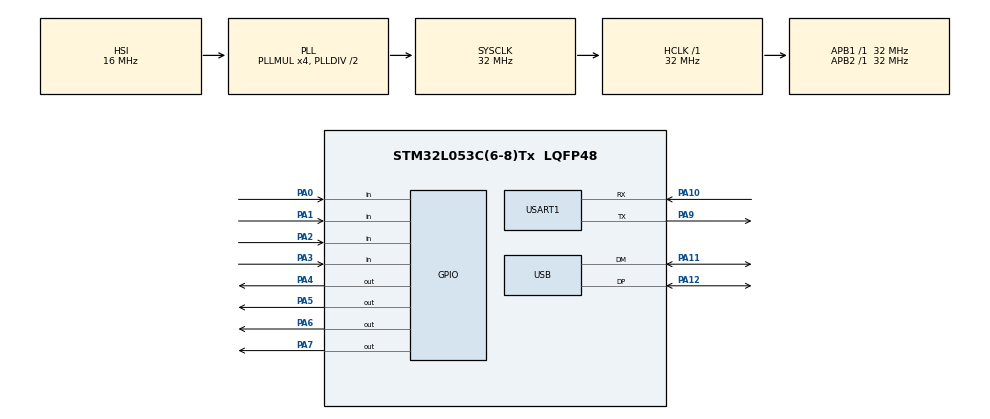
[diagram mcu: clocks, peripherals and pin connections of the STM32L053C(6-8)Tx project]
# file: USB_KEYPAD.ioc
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Mcu.Family=STM32L0
Mcu.Name=STM32L053C(6-8)Tx
Mcu.Package=LQFP48
NVIC.USB_IRQn=true\:0\:0\:false\:false\:true\:false\:true\:true
PA0.GPIO_PuPd=GPIO_PULLUP
PA0.Signal=GPIO_Input
PA1.GPIO_PuPd=GPIO_PULLUP
PA1.Signal=GPIO_Input
PA10.Mode=Asynchronous
PA10.Signal=USART1_RX
PA11.Mode=Device
PA11.Signal=USB_DM
PA12.Mode=Device
PA12.Signal=USB_DP
PA13.Mode=Serial_Wire
PA13.Signal=SYS_SWDIO
PA14.Mode=Serial_Wire
PA14.Signal=SYS_SWCLK
PA2.GPIO_PuPd=GPIO_PULLUP
PA2.Signal=GPIO_Input
PA3.GPIO_PuPd=GPIO_PULLUP
PA3.Signal=GPIO_Input
PA4.Signal=GPIO_Output
PA5.Signal=GPIO_Output
PA6.Signal=GPIO_Output
PA7.Signal=GPIO_Output
PA9.Mode=Asynchronous
PA9.Signal=USART1_TX
PH0-OSC_IN.Mode=HSE-External-Oscillator
PH0-OSC_IN.Signal=RCC_OSC_IN
PH1-OSC_OUT.Mode=HSE-External-Oscillator
PH1-OSC_OUT.Signal=RCC_OSC_OUT
ProjectManager.HeapSize=0x200
ProjectManager.StackSize=0x400
ProjectManager.TargetToolchain=STM32CubeIDE
RCC.AHBFreq_Value=32000000
RCC.APB1Freq_Value=32000000
RCC.APB1TimFreq_Value=32000000
RCC.APB2Freq_Value=32000000
RCC.APB2TimFreq_Value=32000000
RCC.HCLKFreq_Value=32000000
RCC.HSE_VALUE=8000000
RCC.HSI16_VALUE=16000000
RCC.HSI48MClockSelection=RCC_USBCLKSOURCE_HSI48
RCC.HSI48_VALUE=48000000
RCC.HSI_VALUE=16000000
RCC.LSE_VALUE=32768
RCC.MSI_VALUE=2097000
RCC.PLLMUL=RCC_PLLMUL_4
RCC.RTCClockSelectionVirtual=RCC_RTCCLKSOURCE_LSE
RCC.SYSCLKFreq_VALUE=32000000
RCC.SYSCLKSource=RCC_SYSCLKSOURCE_PLLCLK
RCC.VCOOutputFreq_Value=64000000
USART1.VirtualMode-Asynchronous=VM_ASYNC
USB_DEVICE.CLASS_NAME_FS=HID
USB_DEVICE.PRODUCT_STRING_HID_FS=STM32 Human KEYPAD
USB_DEVICE.VirtualMode=Hid
USB_DEVICE.VirtualModeFS=Hid_FS
VP_USB_DEVICE_VS_USB_DEVICE_HID_FS.Mode=HID_FS
board=STM32L0538-DISCO

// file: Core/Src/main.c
/* USER CODE BEGIN Header */
/**
  ******************************************************************************
  * @file           : main.c
  * @brief          : Main program body
  ******************************************************************************
  * @attention
  *
  * Copyright (c) 2023 STMicroelectronics.
  * All rights reserved.
  *
  * This software is licensed under terms that can be found in the LICENSE file
  * in the root directory of this software component.
  * If no LICENSE file comes with this software, it is provided AS-IS.
  *
  ******************************************************************************
  */
/* USER CODE END Header */
#include "main.h"
#include "usb_device.h"

/* USER CODE BEGIN Includes */
#include "usbd_hid.h"

/* USER CODE END Includes */

UART_HandleTypeDef huart1;

void SystemClock_Config(void);
static void MX_GPIO_Init(void);
static void MX_USART1_UART_Init(void);

/* USER CODE BEGIN 0 */

extern USBD_HandleTypeDef hUsbDeviceFS;

typedef struct
{
	uint8_t MODIFIER;
	uint8_t RESERVED;
	uint8_t KEYCODE1;
	uint8_t KEYCODE2;
	uint8_t KEYCODE3;
	uint8_t KEYCODE4;
	uint8_t KEYCODE5;
	uint8_t KEYCODE6;

} KeypadHID;

KeypadHID Keypadhid ={0,0,0,0,0,0,0};

/*************************************** KEYPAD RELATED CODE STARTS HERE *********************************/
#define R1_PORT GPIOA
#define R1_PIN GPIO_PIN_7

#define R2_PORT GPIOA
#define R2_PIN GPIO_PIN_6

#define R3_PORT GPIOA
#define R3_PIN GPIO_PIN_5

#define R4_PORT GPIOA
#define R4_PIN GPIO_PIN_4

#define C1_PORT GPIOA
#define C1_PIN GPIO_PIN_3

#define C2_PORT GPIOA
#define C2_PIN GPIO_PIN_2

#define C3_PORT GPIOA
#define C3_PIN GPIO_PIN_1

#define C4_PORT GPIOA
#define C4_PIN GPIO_PIN_0

uint8_t key;

char read_keypad (void)
{
	/* Make ROW 1 LOW and all other ROWs HIGH */
	HAL_GPIO_WritePin (R1_PORT, R1_PIN, GPIO_PIN_RESET);  //Pull the R1 low
	HAL_GPIO_WritePin (R2_PORT, R2_PIN, GPIO_PIN_SET);  // Pull the R2 High
	HAL_GPIO_WritePin (R3_PORT, R3_PIN, GPIO_PIN_SET);  // Pull the R3 High
	HAL_GPIO_WritePin (R4_PORT, R4_PIN, GPIO_PIN_SET);  // Pull the R4 High

	if (!(HAL_GPIO_ReadPin (C1_PORT, C1_PIN)))   // if the Col 1 is low
	{
		while (!(HAL_GPIO_ReadPin (C1_PORT, C1_PIN)));   // wait till the button is pressed
		return '1';
	}

	if (!(HAL_GPIO_ReadPin (C2_PORT, C2_PIN)))   // if the Col 2 is low
	{
		while (!(HAL_GPIO_ReadPin (C2_PORT, C2_PIN)));   // wait till the button is pressed
		return '2';
	}

	if (!(HAL_GPIO_ReadPin (C3_PORT, C3_PIN)))   // if the Col 3 is low
	{
		while (!(HAL_GPIO_ReadPin (C3_PORT, C3_PIN)));   // wait till the button is pressed
		return '3';
	}

	if (!(HAL_GPIO_ReadPin (C4_PORT, C4_PIN)))   // if the Col 4 is low
	{
		while (!(HAL_GPIO_ReadPin (C4_PORT, C4_PIN)));   // wait till the button is pressed
		return 'A';
	}

	/* Make ROW 2 LOW and all other ROWs HIGH */
	HAL_GPIO_WritePin (R1_PORT, R1_PIN, GPIO_PIN_SET);  //Pull the R1 low
	HAL_GPIO_WritePin (R2_PORT, R2_PIN, GPIO_PIN_RESET);  // Pull the R2 High
	HAL_GPIO_WritePin (R3_PORT, R3_PIN, GPIO_PIN_SET);  // Pull the R3 High
	HAL_GPIO_WritePin (R4_PORT, R4_PIN, GPIO_PIN_SET);  // Pull the R4 High

	if (!(HAL_GPIO_ReadPin (C1_PORT, C1_PIN)))   // if the Col 1 is low
	{
		while (!(HAL_GPIO_ReadPin (C1_PORT, C1_PIN)));   // wait till the button is pressed
		return '4';
	}

	if (!(HAL_GPIO_ReadPin (C2_PORT, C2_PIN)))   // if the Col 2 is low
	{
		while (!(HAL_GPIO_ReadPin (C2_PORT, C2_PIN)));   // wait till the button is pressed
		return '5';
	}

	if (!(HAL_GPIO_ReadPin (C3_PORT, C3_PIN)))   // if the Col 3 is low
	{
		while (!(HAL_GPIO_ReadPin (C3_PORT, C3_PIN)));   // wait till the button is pressed
		return '6';
	}

	if (!(HAL_GPIO_ReadPin (C4_PORT, C4_PIN)))   // if the Col 4 is low
	{
		while (!(HAL_GPIO_ReadPin (C4_PORT, C4_PIN)));   // wait till the button is pressed
		return 'B';
	}

	/* Make ROW 3 LOW and all other ROWs HIGH */
	HAL_GPIO_WritePin (R1_PORT, R1_PIN, GPIO_PIN_SET);  //Pull the R1 low
	HAL_GPIO_WritePin (R2_PORT, R2_PIN, GPIO_PIN_SET);  // Pull the R2 High
	HAL_GPIO_WritePin (R3_PORT, R3_PIN, GPIO_PIN_RESET);  // Pull the R3 High
	HAL_GPIO_WritePin (R4_PORT, R4_PIN, GPIO_PIN_SET);  // Pull the R4 High

	if (!(HAL_GPIO_ReadPin (C1_PORT, C1_PIN)))   // if the Col 1 is low
	{
		while (!(HAL_GPIO_ReadPin (C1_PORT, C1_PIN)));   // wait till the button is pressed
		return '7';
	}

	if (!(HAL_GPIO_ReadPin (C2_PORT, C2_PIN)))   // if the Col 2 is low
	{
		while (!(HAL_GPIO_ReadPin (C2_PORT, C2_PIN)));   // wait till the button is pressed
		return '8';
	}

	if (!(HAL_GPIO_ReadPin (C3_PORT, C3_PIN)))   // if the Col 3 is low
	{
		while (!(HAL_GPIO_ReadPin (C3_PORT, C3_PIN)));   // wait till the button is pressed
		return '9';
	}

	if (!(HAL_GPIO_ReadPin (C4_PORT, C4_PIN)))   // if the Col 4 is low
	{
		while (!(HAL_GPIO_ReadPin (C4_PORT, C4_PIN)));   // wait till the button is pressed
		return 'C';
	}

	/* Make ROW 4 LOW and all other ROWs HIGH */
	HAL_GPIO_WritePin (R1_PORT, R1_PIN, GPIO_PIN_SET);  //Pull the R1 low
	HAL_GPIO_WritePin (R2_PORT, R2_PIN, GPIO_PIN_SET);  // Pull the R2 High
	HAL_GPIO_WritePin (R3_PORT, R3_PIN, GPIO_PIN_SET);  // Pull the R3 High
	HAL_GPIO_WritePin (R4_PORT, R4_PIN, GPIO_PIN_RESET);  // Pull the R4 High

	if (!(HAL_GPIO_ReadPin (C1_PORT, C1_PIN)))   // if the Col 1 is low
	{
		while (!(HAL_GPIO_ReadPin (C1_PORT, C1_PIN)));   // wait till the button is pressed
		return '*';
	}

	if (!(HAL_GPIO_ReadPin (C2_PORT, C2_PIN)))   // if the Col 2 is low
	{
		while (!(HAL_GPIO_ReadPin (C2_PORT, C2_PIN)));   // wait till the button is pressed
		return '0';
	}

	if (!(HAL_GPIO_ReadPin (C3_PORT, C3_PIN)))   // if the Col 3 is low
	{
		while (!(HAL_GPIO_ReadPin (C3_PORT, C3_PIN)));   // wait till the button is pressed
		return '#';
	}

	if (!(HAL_GPIO_ReadPin (C4_PORT, C4_PIN)))   // if the Col 4 is low
	{
		while (!(HAL_GPIO_ReadPin (C4_PORT, C4_PIN)));   // wait till the button is pressed
		return 'D';
	}

}

/* USER CODE END 0 */

int main(void)
{

  /* MCU Configuration--------------------------------------------------------*/

  /* Reset of all peripherals, Initializes the Flash interface and the Systick. */
  HAL_Init();

  /* Configure the system clock */
  SystemClock_Config();

  /* Initialize all configured peripherals */
  MX_GPIO_Init();
  MX_USB_DEVICE_Init();
  MX_USART1_UART_Init();

  /* Infinite loop */
  while (1)
  {

    /* USER CODE BEGIN 3 */

	 key = read_keypad ();

      if (key != 0x01){

	  if (key == '1')  Keypadhid.KEYCODE1 = 0x1E;
	  if (key == '2')  Keypadhid.KEYCODE1 = 0x1F;
	  if (key == '3')  Keypadhid.KEYCODE1 = 0x20;
	  if (key == '4')  Keypadhid.KEYCODE1 = 0x21;
	  if (key == '5')  Keypadhid.KEYCODE1 = 0x22;
	  if (key == '6')  Keypadhid.KEYCODE1 = 0x23;
	  if (key == '7')  Keypadhid.KEYCODE1 = 0x24;
	  if (key == '8')  Keypadhid.KEYCODE1 = 0x25;
	  if (key == '9')  Keypadhid.KEYCODE1 = 0x26;
	  if (key == '0')  Keypadhid.KEYCODE1 = 0x27;

	  if (key == 'A')
	  {
		  Keypadhid.MODIFIER = 0x02;  // left shift pressed
		  Keypadhid.KEYCODE1 = 0x04;  // press 'a'
//		  HAL_UART_Transmit(&huart1,"hi\r\n",5,1000);
	  }
	  if (key == 'B')
	  {
		  Keypadhid.MODIFIER = 0x02;  // left shift pressed
		  Keypadhid.KEYCODE1 = 0x05;  // press 'B'
	  }
	  if (key == 'C')
	  {
		  Keypadhid.MODIFIER = 0x02;  // left shift pressed
		  Keypadhid.KEYCODE1 = 0x06;  // press 'C'
	  }
	  if (key == 'D')
	  {
		  Keypadhid.MODIFIER = 0x02;  // left shift pressed
		  Keypadhid.KEYCODE1 = 0x07;  // press 'D'
	  }

	  if (key == '*')
	  {
		  Keypadhid.MODIFIER = 0x02;  // left shift pressed
		  Keypadhid.KEYCODE1 = 0x25;  // press '*'
	  }

	  if (key == '#')
	  {
		  Keypadhid.MODIFIER = 0x02;  // left shift pressed
		  Keypadhid.KEYCODE1 = 0x20;  // press '#'
	  }

	  USBD_HID_SendReport(&hUsbDeviceFS,&Keypadhid,sizeof(Keypadhid));
	  HAL_Delay (50);
	  Keypadhid.MODIFIER = 0x00;  // shift release
	  Keypadhid.KEYCODE1 = 0x00;  // release key
	  USBD_HID_SendReport(&hUsbDeviceFS,&Keypadhid,sizeof(Keypadhid));
	  HAL_Delay (100);
	  }
//	  Keypadhid.MODIFIRE=0x02; // Left shift
//	  Keypadhid.KEYCODE1= 0x15;// press 'r
//	  Keypadhid.KEYCODE2= 0x04;// press 'a'
//	  Keypadhid.KEYCODE3=0x0B;// press 'h'
//	  Keypadhid.KEYCODE4=0x18;// press 'u'
//	  Keypadhid.KEYCODE5=0x0F;// press 'u'
//
//	  USBD_HID_SendReport(&hUsbDeviceFS,&Keypadhid,sizeof(Keypadhid));
//	  HAL_Delay(50);
//
//
//	  Keypadhid.MODIFIRE=0x00;  //Shift register
//	  Keypadhid.KEYCODE1= 0x00;  // release key
//	  Keypadhid.KEYCODE2= 0x00;  // release key
//	  Keypadhid.KEYCODE3= 0x00;  // release key
//	  Keypadhid.KEYCODE4= 0x00;  // release key
//	  Keypadhid.KEYCODE5= 0x00;  // release key
//	  USBD_HID_SendReport(&hUsbDeviceFS,&Keypadhid,sizeof(Keypadhid));
//	  HAL_Delay(100);
  }
  /* USER CODE END 3 */
}

void SystemClock_Config(void)
{
  RCC_OscInitTypeDef RCC_OscInitStruct = {0};
  RCC_ClkInitTypeDef RCC_ClkInitStruct = {0};
  RCC_PeriphCLKInitTypeDef PeriphClkInit = {0};

  /** Configure the main internal regulator output voltage
  */
  __HAL_PWR_VOLTAGESCALING_CONFIG(PWR_REGULATOR_VOLTAGE_SCALE1);

  /** Initializes the RCC Oscillators according to the specified parameters
  * in the RCC_OscInitTypeDef structure.
  */
  RCC_OscInitStruct.OscillatorType = RCC_OSCILLATORTYPE_HSI|RCC_OSCILLATORTYPE_HSI48;
  RCC_OscInitStruct.HSIState = RCC_HSI_ON;
  RCC_OscInitStruct.HSICalibrationValue = RCC_HSICALIBRATION_DEFAULT;
  RCC_OscInitStruct.HSI48State = RCC_HSI48_ON;
  RCC_OscInitStruct.PLL.PLLState = RCC_PLL_ON;
  RCC_OscInitStruct.PLL.PLLSource = RCC_PLLSOURCE_HSI;
  RCC_OscInitStruct.PLL.PLLMUL = RCC_PLLMUL_4;
  RCC_OscInitStruct.PLL.PLLDIV = RCC_PLLDIV_2;
  if (HAL_RCC_OscConfig(&RCC_OscInitStruct) != HAL_OK)
  {
    Error_Handler();
  }

  /** Initializes the CPU, AHB and APB buses clocks
  */
  RCC_ClkInitStruct.ClockType = RCC_CLOCKTYPE_HCLK|RCC_CLOCKTYPE_SYSCLK
                              |RCC_CLOCKTYPE_PCLK1|RCC_CLOCKTYPE_PCLK2;
  RCC_ClkInitStruct.SYSCLKSource = RCC_SYSCLKSOURCE_PLLCLK;
  RCC_ClkInitStruct.AHBCLKDivider = RCC_SYSCLK_DIV1;
  RCC_ClkInitStruct.APB1CLKDivider = RCC_HCLK_DIV1;
  RCC_ClkInitStruct.APB2CLKDivider = RCC_HCLK_DIV1;

  if (HAL_RCC_ClockConfig(&RCC_ClkInitStruct, FLASH_LATENCY_1) != HAL_OK)
  {
    Error_Handler();
  }
  PeriphClkInit.PeriphClockSelection = RCC_PERIPHCLK_USART1|RCC_PERIPHCLK_USB;
  PeriphClkInit.Usart1ClockSelection = RCC_USART1CLKSOURCE_PCLK2;
  PeriphClkInit.UsbClockSelection = RCC_USBCLKSOURCE_HSI48;
  if (HAL_RCCEx_PeriphCLKConfig(&PeriphClkInit) != HAL_OK)
  {
    Error_Handler();
  }
}

static void MX_USART1_UART_Init(void)
{

  huart1.Instance = USART1;
  huart1.Init.BaudRate = 115200;
  huart1.Init.WordLength = UART_WORDLENGTH_8B;
  huart1.Init.StopBits = UART_STOPBITS_1;
  huart1.Init.Parity = UART_PARITY_NONE;
  huart1.Init.Mode = UART_MODE_TX_RX;
  huart1.Init.HwFlowCtl = UART_HWCONTROL_NONE;
  huart1.Init.OverSampling = UART_OVERSAMPLING_16;
  huart1.Init.OneBitSampling = UART_ONE_BIT_SAMPLE_DISABLE;
  huart1.AdvancedInit.AdvFeatureInit = UART_ADVFEATURE_NO_INIT;
  if (HAL_UART_Init(&huart1) != HAL_OK)
  {
    Error_Handler();
  }

}

static void MX_GPIO_Init(void)
{
  GPIO_InitTypeDef GPIO_InitStruct = {0};

  /* GPIO Ports Clock Enable */
  __HAL_RCC_GPIOH_CLK_ENABLE();
  __HAL_RCC_GPIOA_CLK_ENABLE();

  /*Configure GPIO pin Output Level */
  HAL_GPIO_WritePin(GPIOA, GPIO_PIN_4|GPIO_PIN_5|GPIO_PIN_6|GPIO_PIN_7, GPIO_PIN_RESET);

  /*Configure GPIO pins : PA0 PA1 PA2 PA3 */
  GPIO_InitStruct.Pin = GPIO_PIN_0|GPIO_PIN_1|GPIO_PIN_2|GPIO_PIN_3;
  GPIO_InitStruct.Mode = GPIO_MODE_INPUT;
  GPIO_InitStruct.Pull = GPIO_PULLUP;
  HAL_GPIO_Init(GPIOA, &GPIO_InitStruct);

  /*Configure GPIO pins : PA4 PA5 PA6 PA7 */
  GPIO_InitStruct.Pin = GPIO_PIN_4|GPIO_PIN_5|GPIO_PIN_6|GPIO_PIN_7;
  GPIO_InitStruct.Mode = GPIO_MODE_OUTPUT_PP;
  GPIO_InitStruct.Pull = GPIO_NOPULL;
  GPIO_InitStruct.Speed = GPIO_SPEED_FREQ_LOW;
  HAL_GPIO_Init(GPIOA, &GPIO_InitStruct);

}

void Error_Handler(void)
{
  __disable_irq();
  while (1)
  {
  }
}
